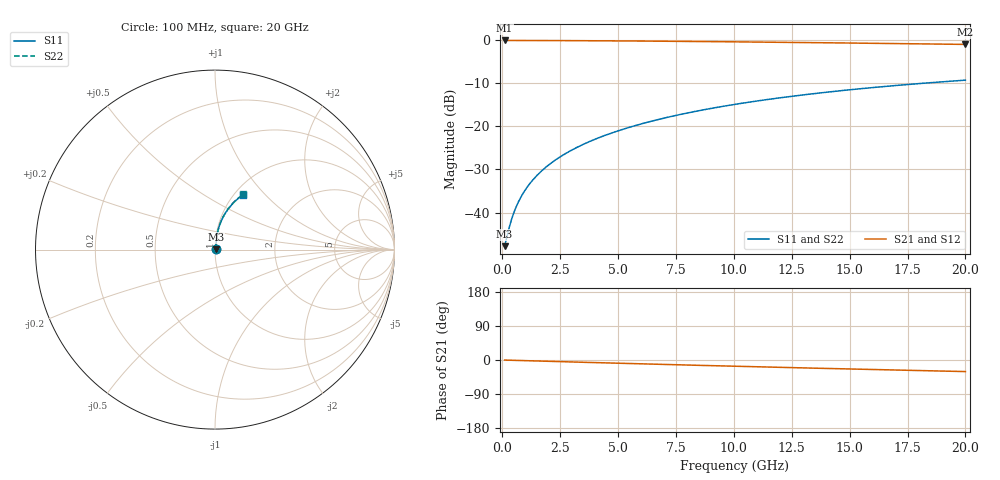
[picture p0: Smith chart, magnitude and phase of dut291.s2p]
! Touchstone file exported from HFSS 2024.1.0
!  File:  C:/UserFiles/LocalFiles/RDL_TSV_Batchsim/temp_RDL_bottom_291_1778703408.aedt
!  Generated:  04:19:23 AM May 14, 2026
!  Design:  RDL_bottom
!  Project:  temp_RDL_bottom_291_1778703408
!  Setup:  Setup1
!  Solution:  Sweep
! Variables:
!  dtsv = 10.80580581um
!  hbump = 3um
!  htsv = 75.53um
!  ldown = 378.78um
!  lrdl = 100um
!  p = 40
!  p1 = 47.6um
!  rhole = 1um
!  t = 450um
!  tdown = 2.48um
!  trdl = 3.915915916um
!  wdown = 15.92um
!  wrdl = 20um
# GHz S MA R 50.000000
! Terminal data exported
! Port[1] = RDL1_T1
! Port[2] = RDL1_T2
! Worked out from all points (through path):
!   200 points, 100 MHz to 20 GHz, reference 50 ohm
!   highest |S21| = -0.03 dB at 100 MHz (marker M1); lowest = -0.9 dB at 20 GHz (marker M2)
!   group delay of S21, straight-line fit = 4.23 ps
!   lowest |S11| = -47.8 dB at 100 MHz (marker M3), VSWR 1.01, Z = 50.4 + j0.188 ohm
!   |S11| at or under -10 dB: start of sweep to 18.11 GHz
!   |S22| runs from -47.8 to -9.2 dB; largest |S21 - S12| = 3e-15
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0.1  0.004071 27.3  0.9964 -0.2  0.9964 -0.2  0.004071 27.3
! Gamma 0 0 0 0
! Port Impedance 50 0 50 0
0.3  0.006713 56.0  0.9962 -0.5  0.9962 -0.5  0.006713 56.0
0.4  0.008324 62.4  0.9961 -0.7  0.9961 -0.7  0.008323 62.4
0.5  0.009987 66.6  0.996 -0.9  0.996 -0.9  0.009985 66.6
0.6  0.01167 69.5  0.9959 -1.1  0.9959 -1.1  0.01167 69.5
0.7  0.01336 71.7  0.9957 -1.2  0.9957 -1.2  0.01336 71.7
0.9  0.01676 74.7  0.9955 -1.6  0.9955 -1.6  0.01675 74.7
1.2  0.02187 77.5  0.995 -2.1  0.995 -2.1  0.02187 77.5
1.4  0.0253 78.7  0.9948 -2.4  0.9948 -2.4  0.02529 78.8
1.7  0.03046 80.0  0.9943 -3.0  0.9943 -3.0  0.03046 80.1
2.2  0.03914 81.3  0.9934 -3.8  0.9934 -3.8  0.03914 81.4
2.8  0.04965 82.1  0.992 -4.8  0.992 -4.8  0.04965 82.1
3.5  0.06202 82.3  0.9901 -6.0  0.9901 -6.0  0.06203 82.4
4.2  0.07451 82.3  0.9879 -7.2  0.9879 -7.2  0.07453 82.4
5  0.08889 81.9  0.985 -8.5  0.985 -8.5  0.08893 82.0
5.9  0.1052 81.2  0.9813 -10.0  0.9813 -10.0  0.1052 81.3
6.8  0.1215 80.3  0.9772 -11.4  0.9772 -11.4  0.1216 80.5
8.4  0.1507 78.5  0.9693 -14.0  0.9693 -14.0  0.1508 78.7
10.1  0.1814 76.4  0.96 -16.6  0.96 -16.6  0.1816 76.6
13.4  0.2394 71.9  0.9403 -21.4  0.9403 -21.4  0.2398 72.1
16.7  0.2941 67.2  0.919 -26.1  0.919 -26.1  0.2947 67.5
20  0.3447 62.7  0.8967 -30.5  0.8967 -30.5  0.3454 63.0
